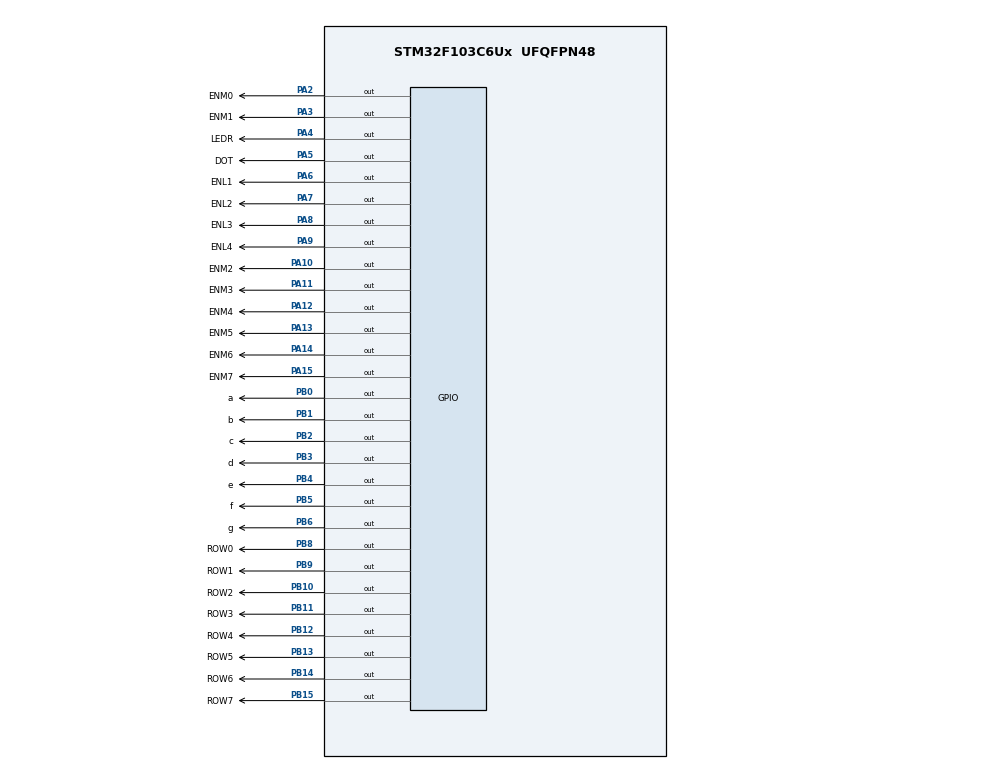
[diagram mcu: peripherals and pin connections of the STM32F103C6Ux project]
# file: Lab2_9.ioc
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Mcu.Family=STM32F1
Mcu.Name=STM32F103C6Ux
Mcu.Package=UFQFPN48
NVIC.PriorityGroup=NVIC_PRIORITYGROUP_4
NVIC.TIM2_IRQn=true\:0\:0\:false\:false\:true\:true\:true\:true
PA10.GPIO_Label=ENM2
PA10.Signal=GPIO_Output
PA11.GPIO_Label=ENM3
PA11.Signal=GPIO_Output
PA12.GPIO_Label=ENM4
PA12.Signal=GPIO_Output
PA13.GPIO_Label=ENM5
PA13.Signal=GPIO_Output
PA14.GPIO_Label=ENM6
PA14.Signal=GPIO_Output
PA15.GPIO_Label=ENM7
PA15.Signal=GPIO_Output
PA2.GPIO_Label=ENM0
PA2.Signal=GPIO_Output
PA3.GPIO_Label=ENM1
PA3.Signal=GPIO_Output
PA4.GPIO_Label=LEDR
PA4.Signal=GPIO_Output
PA5.GPIO_Label=DOT
PA5.Signal=GPIO_Output
PA6.GPIO_Label=ENL1
PA6.Signal=GPIO_Output
PA7.GPIO_Label=ENL2
PA7.Signal=GPIO_Output
PA8.GPIO_Label=ENL3
PA8.Signal=GPIO_Output
PA9.GPIO_Label=ENL4
PA9.Signal=GPIO_Output
PB0.GPIO_Label=a
PB0.Signal=GPIO_Output
PB1.GPIO_Label=b
PB1.Signal=GPIO_Output
PB10.GPIO_Label=ROW2
PB10.Signal=GPIO_Output
PB11.GPIO_Label=ROW3
PB11.Signal=GPIO_Output
PB12.GPIO_Label=ROW4
PB12.Signal=GPIO_Output
PB13.GPIO_Label=ROW5
PB13.Signal=GPIO_Output
PB14.GPIO_Label=ROW6
PB14.Signal=GPIO_Output
PB15.GPIO_Label=ROW7
PB15.Signal=GPIO_Output
PB2.GPIO_Label=c
PB2.Signal=GPIO_Output
PB3.GPIO_Label=d
PB3.Signal=GPIO_Output
PB4.GPIO_Label=e
PB4.Signal=GPIO_Output
PB5.GPIO_Label=f
PB5.Signal=GPIO_Output
PB6.GPIO_Label=g
PB6.Signal=GPIO_Output
PB8.GPIO_Label=ROW0
PB8.Signal=GPIO_Output
PB9.GPIO_Label=ROW1
PB9.Signal=GPIO_Output
ProjectManager.HeapSize=0x200
ProjectManager.StackSize=0x400
ProjectManager.TargetToolchain=STM32CubeIDE
RCC.APB1Freq_Value=8000000
RCC.APB2Freq_Value=8000000
TIM2.Period=9
TIM2.Prescaler=799
VP_TIM2_VS_ClockSourceINT.Mode=Internal
board=custom

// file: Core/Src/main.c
/* USER CODE BEGIN Header */
/**
  ******************************************************************************
  * @file           : main.c
  * @brief          : Main program body
  ******************************************************************************
  * @attention
  *
  * Copyright (c) 2022 STMicroelectronics.
  * All rights reserved.
  *
  * This software is licensed under terms that can be found in the LICENSE file
  * in the root directory of this software component.
  * If no LICENSE file comes with this software, it is provided AS-IS.
  *
  ******************************************************************************
  */
/* USER CODE END Header */
#include "main.h"

TIM_HandleTypeDef htim2;

void SystemClock_Config(void);
static void MX_GPIO_Init(void);
static void MX_TIM2_Init(void);

/* USER CODE BEGIN 0 */

int counter = 50;
int counter1 = 100;
int counter2 = 10;
int check = 0;

int clk_hour =15, clk_minute = 5, clk_second = 50;

int led_buffer[4] = {1,2,3,4};
int led_index = 0;

uint8_t matrix_buffer[8] = { 0xE7, 0xC3, 0xC3, 0x99, 0x00, 0x00, 0x3C, 0x3C};
int matrix_index = 0;
int timer0_counter = 0;
int timer0_flag = 0;
int timer1_flag = 0;
int timer2_flag = 0;
int TIMER_CYCLE = 10;

void updateClockBuffer(void);
void updateMatrixBuffer(void);
void resetMatrix(void);
void display7SEG(int num);
void displayMatrixLed(void);
void setTimer0(int duration);
void timer_run(void);
/* USER CODE END 0 */

int main(void)
{

  /* MCU Configuration--------------------------------------------------------*/

  /* Reset of all peripherals, Initializes the Flash interface and the Systick. */
  HAL_Init();

  /* Configure the system clock */
  SystemClock_Config();

  /* Initialize all configured peripherals */
  MX_GPIO_Init();
  MX_TIM2_Init();
  /* USER CODE BEGIN 2 */
  HAL_TIM_Base_Start_IT(&htim2);
  HAL_GPIO_WritePin(DOT_GPIO_Port, DOT_Pin, 0);
  HAL_GPIO_WritePin(ENL1_GPIO_Port, ENL1_Pin, 1);
  HAL_GPIO_WritePin(ENL2_GPIO_Port, ENL2_Pin, 1);
  HAL_GPIO_WritePin(ENL3_GPIO_Port, ENL3_Pin, 1);
  HAL_GPIO_WritePin(ENL4_GPIO_Port, ENL4_Pin, 1);

  /* USER CODE END 2 */

  /* Infinite loop */
  /* USER CODE BEGIN WHILE */
  resetMatrix();
  setTimer0(1000);
  while (1)
  {
    /* USER CODE END WHILE */

    /* USER CODE BEGIN 3 */

	  if (timer0_flag == 1){
		  HAL_GPIO_TogglePin(LEDR_GPIO_Port, LEDR_Pin);
		  clk_second++;
		  if (clk_second >=60 ){
			  clk_second = 0;
			  clk_minute++;
		  }
		  if (clk_minute >=60 ){
			  clk_minute = 0;
			  clk_hour++;
		  }
		  if (clk_hour >= 24){
			  clk_hour = 0;
		  }

		  updateClockBuffer();
		  setTimer0(1000);
	  }
	  if (timer1_flag == 1 ){
		  if (led_index == 0) {
				HAL_GPIO_WritePin(ENL1_GPIO_Port, ENL1_Pin, 0);
				HAL_GPIO_WritePin(ENL2_GPIO_Port, ENL2_Pin, 1);
				HAL_GPIO_WritePin(ENL3_GPIO_Port, ENL3_Pin, 1);
				HAL_GPIO_WritePin(ENL4_GPIO_Port, ENL4_Pin, 1);
				display7SEG(led_buffer[led_index]);
			}
			else if (led_index == 1){
				HAL_GPIO_WritePin(ENL1_GPIO_Port, ENL1_Pin, 1);
				HAL_GPIO_WritePin(ENL2_GPIO_Port, ENL2_Pin, 0);
				HAL_GPIO_WritePin(ENL3_GPIO_Port, ENL3_Pin, 1);
				HAL_GPIO_WritePin(ENL4_GPIO_Port, ENL4_Pin, 1);
				display7SEG(led_buffer[led_index]);

			}
			else if (led_index == 2){
				HAL_GPIO_WritePin(ENL1_GPIO_Port, ENL1_Pin, 1);
				HAL_GPIO_WritePin(ENL2_GPIO_Port, ENL2_Pin, 1);
				HAL_GPIO_WritePin(ENL3_GPIO_Port, ENL3_Pin, 0);
				HAL_GPIO_WritePin(ENL4_GPIO_Port, ENL4_Pin, 1);
				display7SEG(led_buffer[led_index]);
			}
			else if (led_index == 3){
				HAL_GPIO_WritePin(ENL1_GPIO_Port, ENL1_Pin, 1);
				HAL_GPIO_WritePin(ENL2_GPIO_Port, ENL2_Pin, 1);
				HAL_GPIO_WritePin(ENL3_GPIO_Port, ENL3_Pin, 1);
				HAL_GPIO_WritePin(ENL4_GPIO_Port, ENL4_Pin, 0);
				display7SEG(led_buffer[led_index]);
			}
			led_index = (led_index+1)%4;
			timer1_flag = 0;
	  }
	  if (timer2_flag == 1){
		  resetMatrix();
		  displayMatrixLed();
		  matrix_index = (matrix_index+1)%8;
		  timer2_flag = 0;
		  if (matrix_index == 0) updateMatrixBuffer();
	  }

  }
  /* USER CODE END 3 */
}

void SystemClock_Config(void)
{
  RCC_OscInitTypeDef RCC_OscInitStruct = {0};
  RCC_ClkInitTypeDef RCC_ClkInitStruct = {0};

  /** Initializes the RCC Oscillators according to the specified parameters
  * in the RCC_OscInitTypeDef structure.
  */
  RCC_OscInitStruct.OscillatorType = RCC_OSCILLATORTYPE_HSI;
  RCC_OscInitStruct.HSIState = RCC_HSI_ON;
  RCC_OscInitStruct.HSICalibrationValue = RCC_HSICALIBRATION_DEFAULT;
  RCC_OscInitStruct.PLL.PLLState = RCC_PLL_NONE;
  if (HAL_RCC_OscConfig(&RCC_OscInitStruct) != HAL_OK)
  {
    Error_Handler();
  }

  /** Initializes the CPU, AHB and APB buses clocks
  */
  RCC_ClkInitStruct.ClockType = RCC_CLOCKTYPE_HCLK|RCC_CLOCKTYPE_SYSCLK
                              |RCC_CLOCKTYPE_PCLK1|RCC_CLOCKTYPE_PCLK2;
  RCC_ClkInitStruct.SYSCLKSource = RCC_SYSCLKSOURCE_HSI;
  RCC_ClkInitStruct.AHBCLKDivider = RCC_SYSCLK_DIV1;
  RCC_ClkInitStruct.APB1CLKDivider = RCC_HCLK_DIV1;
  RCC_ClkInitStruct.APB2CLKDivider = RCC_HCLK_DIV1;

  if (HAL_RCC_ClockConfig(&RCC_ClkInitStruct, FLASH_LATENCY_0) != HAL_OK)
  {
    Error_Handler();
  }
}

static void MX_TIM2_Init(void)
{

  TIM_ClockConfigTypeDef sClockSourceConfig = {0};
  TIM_MasterConfigTypeDef sMasterConfig = {0};

  htim2.Instance = TIM2;
  htim2.Init.Prescaler = 799;
  htim2.Init.CounterMode = TIM_COUNTERMODE_UP;
  htim2.Init.Period = 9;
  htim2.Init.ClockDivision = TIM_CLOCKDIVISION_DIV1;
  htim2.Init.AutoReloadPreload = TIM_AUTORELOAD_PRELOAD_DISABLE;
  if (HAL_TIM_Base_Init(&htim2) != HAL_OK)
  {
    Error_Handler();
  }
  sClockSourceConfig.ClockSource = TIM_CLOCKSOURCE_INTERNAL;
  if (HAL_TIM_ConfigClockSource(&htim2, &sClockSourceConfig) != HAL_OK)
  {
    Error_Handler();
  }
  sMasterConfig.MasterOutputTrigger = TIM_TRGO_RESET;
  sMasterConfig.MasterSlaveMode = TIM_MASTERSLAVEMODE_DISABLE;
  if (HAL_TIMEx_MasterConfigSynchronization(&htim2, &sMasterConfig) != HAL_OK)
  {
    Error_Handler();
  }

}

static void MX_GPIO_Init(void)
{
  GPIO_InitTypeDef GPIO_InitStruct = {0};

  /* GPIO Ports Clock Enable */
  __HAL_RCC_GPIOA_CLK_ENABLE();
  __HAL_RCC_GPIOB_CLK_ENABLE();

  /*Configure GPIO pin Output Level */
  HAL_GPIO_WritePin(GPIOA, ENM0_Pin|ENM1_Pin|LEDR_Pin|DOT_Pin
                          |ENL1_Pin|ENL2_Pin|ENL3_Pin|ENL4_Pin
                          |ENM2_Pin|ENM3_Pin|ENM4_Pin|ENM5_Pin
                          |ENM6_Pin|ENM7_Pin, GPIO_PIN_RESET);

  /*Configure GPIO pin Output Level */
  HAL_GPIO_WritePin(GPIOB, a_Pin|b_Pin|c_Pin|ROW2_Pin
                          |ROW3_Pin|ROW4_Pin|ROW5_Pin|ROW6_Pin
                          |ROW7_Pin|d_Pin|e_Pin|f_Pin
                          |g_Pin|ROW0_Pin|ROW1_Pin, GPIO_PIN_RESET);

  /*Configure GPIO pins : ENM0_Pin ENM1_Pin LEDR_Pin DOT_Pin
                           ENL1_Pin ENL2_Pin ENL3_Pin ENL4_Pin
                           ENM2_Pin ENM3_Pin ENM4_Pin ENM5_Pin
                           ENM6_Pin ENM7_Pin */
  GPIO_InitStruct.Pin = ENM0_Pin|ENM1_Pin|LEDR_Pin|DOT_Pin
                          |ENL1_Pin|ENL2_Pin|ENL3_Pin|ENL4_Pin
                          |ENM2_Pin|ENM3_Pin|ENM4_Pin|ENM5_Pin
                          |ENM6_Pin|ENM7_Pin;
  GPIO_InitStruct.Mode = GPIO_MODE_OUTPUT_PP;
  GPIO_InitStruct.Pull = GPIO_NOPULL;
  GPIO_InitStruct.Speed = GPIO_SPEED_FREQ_LOW;
  HAL_GPIO_Init(GPIOA, &GPIO_InitStruct);

  /*Configure GPIO pins : a_Pin b_Pin c_Pin ROW2_Pin
                           ROW3_Pin ROW4_Pin ROW5_Pin ROW6_Pin
                           ROW7_Pin d_Pin e_Pin f_Pin
                           g_Pin ROW0_Pin ROW1_Pin */
  GPIO_InitStruct.Pin = a_Pin|b_Pin|c_Pin|ROW2_Pin
                          |ROW3_Pin|ROW4_Pin|ROW5_Pin|ROW6_Pin
                          |ROW7_Pin|d_Pin|e_Pin|f_Pin
                          |g_Pin|ROW0_Pin|ROW1_Pin;
  GPIO_InitStruct.Mode = GPIO_MODE_OUTPUT_PP;
  GPIO_InitStruct.Pull = GPIO_NOPULL;
  GPIO_InitStruct.Speed = GPIO_SPEED_FREQ_LOW;
  HAL_GPIO_Init(GPIOB, &GPIO_InitStruct);

}

/* USER CODE BEGIN 4 */
void updateClockBuffer(){
	if (clk_hour<9) led_buffer[0] = 0;
	else led_buffer[0] = clk_hour/10;
	if (clk_minute<9) led_buffer[2] = 0;
	else led_buffer[2] = clk_minute/10;

	led_buffer[1] = clk_hour%10;
	led_buffer[3] = clk_minute%10;
}
void updateMatrixBuffer(){
	for (int i=0; i<8; i++){
		uint8_t shift_left = matrix_buffer[i]<<1;
		uint8_t shift_right = matrix_buffer[i]>>7;
		matrix_buffer[i] = shift_left | shift_right;
	}
}
void setTimer0(int duration){
	timer0_counter = duration / TIMER_CYCLE;
	timer0_flag = 0;
	timer1_flag = 0;
}
void timer_run(){
	if (timer0_counter>0){
		timer0_counter--;
		if (timer0_counter == 0) timer0_flag = 1;
		if (timer0_counter % 25 == 0) timer1_flag = 1;
		if (timer0_counter % 50 == 0) timer2_flag = 1;
	}
}
void display7SEG(int num){
	if (num==1){
		HAL_GPIO_WritePin(a_GPIO_Port, a_Pin, 1);
		HAL_GPIO_WritePin(a_GPIO_Port, b_Pin, 0);
		HAL_GPIO_WritePin(a_GPIO_Port, c_Pin, 0);
		HAL_GPIO_WritePin(a_GPIO_Port, d_Pin, 1);
		HAL_GPIO_WritePin(a_GPIO_Port, e_Pin, 1);
		HAL_GPIO_WritePin(a_GPIO_Port, f_Pin, 1);
		HAL_GPIO_WritePin(a_GPIO_Port, g_Pin, 1);
	}
	else if (num==2){
		HAL_GPIO_WritePin(a_GPIO_Port, a_Pin, 0);
		HAL_GPIO_WritePin(a_GPIO_Port, b_Pin, 0);
		HAL_GPIO_WritePin(a_GPIO_Port, c_Pin, 1);
		HAL_GPIO_WritePin(a_GPIO_Port, d_Pin, 0);
		HAL_GPIO_WritePin(a_GPIO_Port, e_Pin, 0);
		HAL_GPIO_WritePin(a_GPIO_Port, f_Pin, 1);
		HAL_GPIO_WritePin(a_GPIO_Port, g_Pin, 0);
	}
	else if (num==3){
		HAL_GPIO_WritePin(a_GPIO_Port, a_Pin, 0);
		HAL_GPIO_WritePin(a_GPIO_Port, b_Pin, 0);
		HAL_GPIO_WritePin(a_GPIO_Port, c_Pin, 0);
		HAL_GPIO_WritePin(a_GPIO_Port, d_Pin, 0);
		HAL_GPIO_WritePin(a_GPIO_Port, e_Pin, 1);
		HAL_GPIO_WritePin(a_GPIO_Port, f_Pin, 1);
		HAL_GPIO_WritePin(a_GPIO_Port, g_Pin, 0);

	}
	else if (num==4){
		HAL_GPIO_WritePin(a_GPIO_Port, a_Pin, 1);
		HAL_GPIO_WritePin(a_GPIO_Port, b_Pin, 0);
		HAL_GPIO_WritePin(a_GPIO_Port, c_Pin, 0);
		HAL_GPIO_WritePin(a_GPIO_Port, d_Pin, 1);
		HAL_GPIO_WritePin(a_GPIO_Port, e_Pin, 1);
		HAL_GPIO_WritePin(a_GPIO_Port, f_Pin, 0);
		HAL_GPIO_WritePin(a_GPIO_Port, g_Pin, 0);
	}
	else if (num==5){
		HAL_GPIO_WritePin(a_GPIO_Port, a_Pin, 0);
		HAL_GPIO_WritePin(a_GPIO_Port, b_Pin, 1);
		HAL_GPIO_WritePin(a_GPIO_Port, c_Pin, 0);
		HAL_GPIO_WritePin(a_GPIO_Port, d_Pin, 0);
		HAL_GPIO_WritePin(a_GPIO_Port, e_Pin, 1);
		HAL_GPIO_WritePin(a_GPIO_Port, f_Pin, 0);
		HAL_GPIO_WritePin(a_GPIO_Port, g_Pin, 0);
	}
	else if (num==6){
		HAL_GPIO_WritePin(a_GPIO_Port, a_Pin, 0);
		HAL_GPIO_WritePin(a_GPIO_Port, b_Pin, 1);
		HAL_GPIO_WritePin(a_GPIO_Port, c_Pin, 0);
		HAL_GPIO_WritePin(a_GPIO_Port, d_Pin, 0);
		HAL_GPIO_WritePin(a_GPIO_Port, e_Pin, 0);
		HAL_GPIO_WritePin(a_GPIO_Port, f_Pin, 0);
		HAL_GPIO_WritePin(a_GPIO_Port, g_Pin, 0);
	}
	else if (num==7){
		HAL_GPIO_WritePin(a_GPIO_Port, a_Pin, 0);
		HAL_GPIO_WritePin(a_GPIO_Port, b_Pin, 0);
		HAL_GPIO_WritePin(a_GPIO_Port, c_Pin, 0);
		HAL_GPIO_WritePin(a_GPIO_Port, d_Pin, 1);
		HAL_GPIO_WritePin(a_GPIO_Port, e_Pin, 1);
		HAL_GPIO_WritePin(a_GPIO_Port, f_Pin, 1);
		HAL_GPIO_WritePin(a_GPIO_Port, g_Pin, 1);
	}
	else if (num==8){
		HAL_GPIO_WritePin(a_GPIO_Port, a_Pin, 0);
		HAL_GPIO_WritePin(a_GPIO_Port, b_Pin, 0);
		HAL_GPIO_WritePin(a_GPIO_Port, c_Pin, 0);
		HAL_GPIO_WritePin(a_GPIO_Port, d_Pin, 0);
		HAL_GPIO_WritePin(a_GPIO_Port, e_Pin, 0);
		HAL_GPIO_WritePin(a_GPIO_Port, f_Pin, 0);
		HAL_GPIO_WritePin(a_GPIO_Port, g_Pin, 0);
	}
	else if (num==9){
		HAL_GPIO_WritePin(a_GPIO_Port, a_Pin, 0);
		HAL_GPIO_WritePin(a_GPIO_Port, b_Pin, 0);
		HAL_GPIO_WritePin(a_GPIO_Port, c_Pin, 0);
		HAL_GPIO_WritePin(a_GPIO_Port, d_Pin, 0);
		HAL_GPIO_WritePin(a_GPIO_Port, e_Pin, 1);
		HAL_GPIO_WritePin(a_GPIO_Port, f_Pin, 0);
		HAL_GPIO_WritePin(a_GPIO_Port, g_Pin, 0);
	} else if (num==0){
		HAL_GPIO_WritePin(a_GPIO_Port, a_Pin, 0);
		HAL_GPIO_WritePin(a_GPIO_Port, b_Pin, 0);
		HAL_GPIO_WritePin(a_GPIO_Port, c_Pin, 0);
		HAL_GPIO_WritePin(a_GPIO_Port, d_Pin, 0);
		HAL_GPIO_WritePin(a_GPIO_Port, e_Pin, 0);
		HAL_GPIO_WritePin(a_GPIO_Port, f_Pin, 0);
		HAL_GPIO_WritePin(a_GPIO_Port, g_Pin, 1 );
	}
}
void displayMatrixLedCol(int number, int state){
	if (number == 0) HAL_GPIO_WritePin(ENM0_GPIO_Port, ENM0_Pin, state);
	if (number == 1) HAL_GPIO_WritePin(ENM1_GPIO_Port, ENM1_Pin, state);
	if (number == 2) HAL_GPIO_WritePin(ENM2_GPIO_Port, ENM2_Pin, state);
	if (number == 3) HAL_GPIO_WritePin(ENM3_GPIO_Port, ENM3_Pin, state);
	if (number == 4) HAL_GPIO_WritePin(ENM4_GPIO_Port, ENM4_Pin, state);
	if (number == 5) HAL_GPIO_WritePin(ENM5_GPIO_Port, ENM5_Pin, state);
	if (number == 6) HAL_GPIO_WritePin(ENM6_GPIO_Port, ENM6_Pin, state);
	if (number == 7) HAL_GPIO_WritePin(ENM7_GPIO_Port, ENM7_Pin, state);
}

void displayMatrixLedRow(int number){
	if (number == 0) HAL_GPIO_WritePin(ROW0_GPIO_Port, ROW0_Pin, 0);
	if (number == 1) HAL_GPIO_WritePin(ROW1_GPIO_Port, ROW1_Pin, 0);
	if (number == 2) HAL_GPIO_WritePin(ROW2_GPIO_Port, ROW2_Pin, 0);
	if (number == 3) HAL_GPIO_WritePin(ROW3_GPIO_Port, ROW3_Pin, 0);
	if (number == 4) HAL_GPIO_WritePin(ROW4_GPIO_Port, ROW4_Pin, 0);
	if (number == 5) HAL_GPIO_WritePin(ROW5_GPIO_Port, ROW5_Pin, 0);
	if (number == 6) HAL_GPIO_WritePin(ROW6_GPIO_Port, ROW6_Pin, 0);
	if (number == 7) HAL_GPIO_WritePin(ROW7_GPIO_Port, ROW7_Pin, 0);
}
void resetMatrix(){
  HAL_GPIO_WritePin(ENM0_GPIO_Port, ENM0_Pin, 1);
  HAL_GPIO_WritePin(ENM1_GPIO_Port, ENM1_Pin, 1);
  HAL_GPIO_WritePin(ENM2_GPIO_Port, ENM2_Pin, 1);
  HAL_GPIO_WritePin(ENM3_GPIO_Port, ENM3_Pin, 1);
  HAL_GPIO_WritePin(ENM4_GPIO_Port, ENM4_Pin, 1);
  HAL_GPIO_WritePin(ENM5_GPIO_Port, ENM5_Pin, 1);
  HAL_GPIO_WritePin(ENM6_GPIO_Port, ENM6_Pin, 1);
  HAL_GPIO_WritePin(ENM7_GPIO_Port, ENM7_Pin, 1);

  HAL_GPIO_WritePin(ROW0_GPIO_Port, ROW0_Pin, 1);
  HAL_GPIO_WritePin(ROW1_GPIO_Port, ROW1_Pin, 1);
  HAL_GPIO_WritePin(ROW2_GPIO_Port, ROW2_Pin, 1);
  HAL_GPIO_WritePin(ROW3_GPIO_Port, ROW3_Pin, 1);
  HAL_GPIO_WritePin(ROW4_GPIO_Port, ROW4_Pin, 1);
  HAL_GPIO_WritePin(ROW5_GPIO_Port, ROW5_Pin, 1);
  HAL_GPIO_WritePin(ROW6_GPIO_Port, ROW6_Pin, 1);
  HAL_GPIO_WritePin(ROW7_GPIO_Port, ROW7_Pin, 1);
}

void displayMatrixLed(){
	int bitStatus;
	displayMatrixLedRow(matrix_index);
	for (int nth = 0; nth<8; nth++){
		bitStatus = (matrix_buffer[matrix_index]>>nth)&1;
		displayMatrixLedCol(nth, bitStatus);
	}
}
void HAL_TIM_PeriodElapsedCallback ( TIM_HandleTypeDef * htim )
{
	timer_run();
}
/* USER CODE END 4 */

void Error_Handler(void)
{
  __disable_irq();
  while (1)
  {
  }
}
